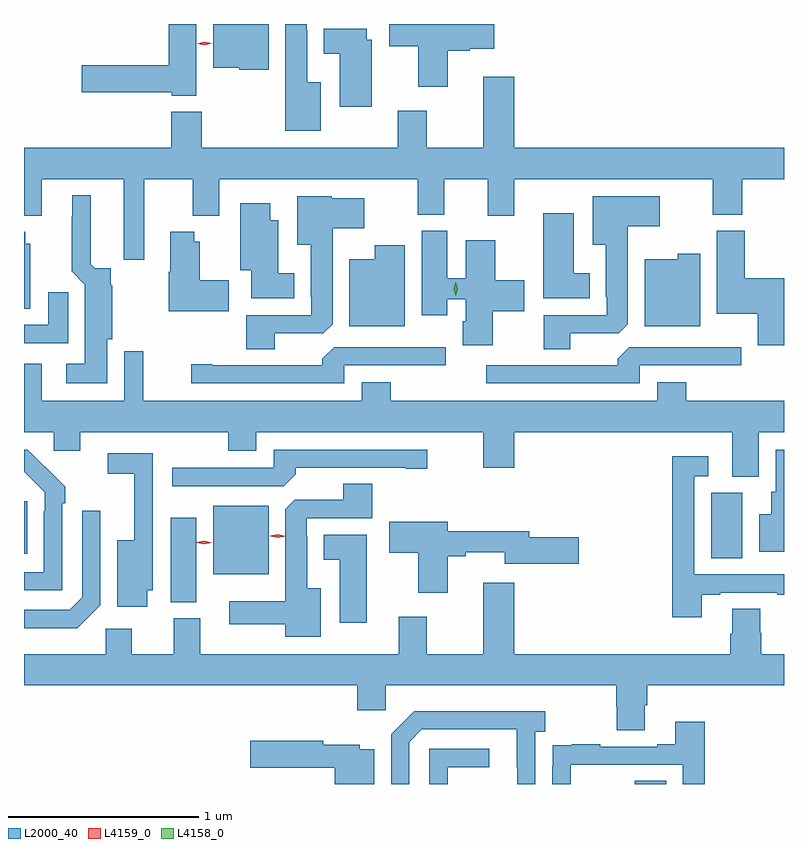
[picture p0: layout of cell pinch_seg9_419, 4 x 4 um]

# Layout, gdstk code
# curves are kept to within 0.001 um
import gdstk
lib = gdstk.Library(unit=1e-6, precision=1e-09)
def R(c, l, rs):  # rectangles x0, y0, x1, y1
    for r in rs: c.add(gdstk.rectangle(r[:2], r[2:], *l))
def P(c, l, *ps):  # polygons
    for p in ps: c.add(gdstk.Polygon(p, *l))
L2000_40 = (2000, 40)
L4158_0 = (4158, 0)
L4159_0 = (4159, 0)

pinch_seg9_419 = lib.new_cell('pinch_seg9_419')
R(pinch_seg9_419, L2000_40, [(141.83,1243.852,141.994,1243.868), (139.388,1244.809,139.522,1245.253), (139.61,1244.957,139.903,1245.316), (142.232,1245.04,142.396,1245.384), (138.615,1245.065,138.631,1245.34)])
P(pinch_seg9_419, L2000_40, [(140.176,1247.545),(140.107,1247.545),(140.107,1247.819),(140.103,1247.819),(140.103,1247.852),(139.991,1247.852),(139.991,1247.291),(140.176,1247.291)],
  [(139.903,1247.852),(139.61,1247.852),(139.61,1247.621),(139.749,1247.621),(139.749,1247.612),(139.903,1247.612)],
  [(139.522,1247.852),(139.376,1247.852),(139.376,1247.636),(138.918,1247.636),(138.918,1247.494),(139.392,1247.494),(139.392,1247.474),(139.522,1247.474)],
  [(140.845,1247.711),(140.96,1247.711),(140.96,1247.723),(141.091,1247.723),(141.091,1247.852),(140.538,1247.852),(140.538,1247.734),(140.69,1247.734),(140.69,1247.523),(140.845,1247.523)],
  [(140.446,1247.769),(140.419,1247.769),(140.419,1247.827),(140.192,1247.827),(140.192,1247.696),(140.276,1247.696),(140.276,1247.417),(140.446,1247.417)],
  [(139.249,1247.036),(139.502,1247.036),(139.502,1246.844),(139.642,1246.844),(139.642,1247.036),(140.687,1247.036),(140.687,1246.849),(140.827,1246.849),(140.827,1247.036),(141.056,1247.036),(141.056,1246.842),(141.196,1246.842),(141.196,1247.036),(142.241,1247.036),(142.241,1246.849),(142.394,1246.849),(142.394,1247.036),(142.615,1247.036),(142.615,1247.2),(141.196,1247.2),(141.196,1247.575),(141.032,1247.575),(141.032,1247.2),(140.736,1247.2),(140.736,1247.395),(140.581,1247.395),(140.581,1247.2),(139.551,1247.2),(139.551,1247.389),(139.391,1247.389),(139.391,1247.2),(138.615,1247.2),(138.615,1246.844),(138.709,1246.844),(138.709,1247.036),(139.139,1247.036),(139.139,1246.723),(139.14,1246.723),(139.14,1246.611),(139.249,1246.611)],
  [(139.054,1246.194),(139.08,1246.194),(139.08,1246.474),(139.072,1246.481),(139.072,1246.566),(138.988,1246.566),(138.967,1246.588),(138.967,1246.951),(138.869,1246.951),(138.869,1246.841),(138.865,1246.841),(138.865,1246.55),(138.935,1246.48),(138.935,1246.063),(138.837,1246.063),(138.837,1245.962),(139.054,1245.962)],
  [(141.49,1246.224),(141.744,1246.224),(141.793,1246.273),(141.793,1246.787),(141.961,1246.787),(141.961,1246.945),(141.608,1246.945),(141.608,1246.691),(141.677,1246.691),(141.677,1246.417),(141.681,1246.417),(141.681,1246.32),(141.35,1246.32),(141.35,1246.141),(141.49,1246.141)],
  [(139.936,1246.224),(140.19,1246.224),(140.239,1246.273),(140.239,1246.778),(140.407,1246.778),(140.407,1246.936),(140.235,1246.936),(140.235,1246.945),(140.054,1246.945),(140.054,1246.691),(140.123,1246.691),(140.123,1246.417),(140.127,1246.417),(140.127,1246.32),(139.784,1246.32),(139.784,1246.141),(139.936,1246.141)],
  [(140.038,1246.54),(139.954,1246.54),(139.954,1246.819),(139.912,1246.819),(139.912,1246.909),(139.754,1246.909),(139.754,1246.556),(139.811,1246.556),(139.811,1246.409),(140.038,1246.409)],
  [(141.592,1246.54),(141.508,1246.54),(141.508,1246.855),(141.347,1246.855),(141.347,1246.409),(141.592,1246.409)],
  [(142.615,1246.513),(142.409,1246.513),(142.409,1246.764),(142.262,1246.764),(142.262,1246.328),(142.478,1246.328),(142.478,1246.161),(142.615,1246.161)],
  [(141.082,1246.34),(141.247,1246.34),(141.247,1246.503),(141.094,1246.503),(141.094,1246.714),(140.939,1246.714),(140.939,1246.513),(140.842,1246.513),(140.842,1246.764),(140.708,1246.764),(140.708,1246.32),(140.842,1246.32),(140.842,1246.404),(140.939,1246.404),(140.939,1246.287),(140.924,1246.287),(140.924,1246.161),(141.082,1246.161)],
  [(138.649,1246.695),(138.622,1246.695),(138.622,1246.759),(138.615,1246.759),(138.615,1246.354),(138.649,1246.354)],
  [(139.693,1246.503),(139.54,1246.503),(139.54,1246.705),(139.51,1246.705),(139.51,1246.759),(139.385,1246.759),(139.385,1246.547),(139.378,1246.547),(139.378,1246.34),(139.693,1246.34)],
  [(140.62,1246.687),(140.462,1246.687),(140.462,1246.615),(140.327,1246.615),(140.327,1246.262),(140.62,1246.262)],
  [(142.174,1246.642),(142.056,1246.642),(142.056,1246.615),(141.881,1246.615),(141.881,1246.262),(142.174,1246.262)],
  [(138.847,1246.441),(138.743,1246.441),(138.743,1246.269),(138.615,1246.269),(138.615,1246.173),(138.847,1246.173)],
  [(140.301,1246.056),(140.836,1246.056),(140.836,1246.152),(140.247,1246.152),(140.186,1246.09),(140.186,1246.056),(139.606,1246.056),(139.606,1246.061),(139.494,1246.061),(139.494,1245.96),(140.301,1245.96)],
  [(141.855,1246.056),(142.39,1246.056),(142.39,1246.152),(141.801,1246.152),(141.74,1246.09),(141.74,1246.056),(141.048,1246.056),(141.048,1245.96),(141.855,1245.96)],
  [(142.483,1245.704),(142.615,1245.704),(142.615,1245.868),(142.1,1245.868),(142.1,1245.967),(141.947,1245.967),(141.947,1245.868),(140.546,1245.868),(140.546,1245.967),(140.393,1245.967),(140.393,1245.868),(139.242,1245.868),(139.242,1246.129),(139.143,1246.129),(139.143,1245.868),(138.709,1245.868),(138.709,1246.063),(138.615,1246.063),(138.615,1245.704),(138.771,1245.704),(138.771,1245.606),(138.91,1245.606),(138.91,1245.704),(139.69,1245.704),(139.69,1245.605),(139.837,1245.605),(139.837,1245.704),(141.032,1245.704),(141.032,1245.516),(141.196,1245.516),(141.196,1245.704),(142.343,1245.704),(142.343,1245.469),(142.483,1245.469)],
  [(138.816,1245.329),(138.831,1245.329),(138.831,1245.417),(138.634,1245.612),(138.615,1245.612),(138.615,1245.496),(138.723,1245.387),(138.723,1245.287),(138.72,1245.287),(138.72,1244.967),(138.615,1244.967),(138.615,1244.871),(138.816,1244.871)],
  [(140.045,1245.482),(140.045,1245.516),(140.624,1245.516),(140.624,1245.511),(140.737,1245.511),(140.737,1245.612),(139.929,1245.612),(139.929,1245.516),(139.395,1245.516),(139.395,1245.42),(139.983,1245.42)],
  [(142.615,1245.612),(142.572,1245.612),(142.572,1245.39),(142.547,1245.39),(142.547,1245.271),(142.484,1245.271),(142.484,1245.075),(142.615,1245.075)],
  [(139.264,1244.873),(139.293,1244.873),(139.293,1245.594),(139.056,1245.594),(139.056,1245.486),(139.196,1245.486),(139.196,1245.136),(139.106,1245.136),(139.106,1244.784),(139.264,1244.784)],
  [(142.183,1244.847),(142.279,1244.847),(142.279,1244.859),(142.579,1244.859),(142.579,1244.847),(142.615,1244.847),(142.615,1244.955),(142.143,1244.955),(142.143,1245.471),(142.216,1245.471),(142.216,1245.577),(142.027,1245.577),(142.027,1244.73),(142.183,1244.73)],
  [(140.176,1244.881),(140.107,1244.881),(140.107,1245.155),(140.103,1245.155),(140.103,1245.252),(140.447,1245.252),(140.447,1245.431),(140.294,1245.431),(140.294,1245.348),(140.04,1245.348),(139.991,1245.299),(139.991,1244.815),(139.695,1244.815),(139.695,1244.693),(139.991,1244.693),(139.991,1244.627),(140.176,1244.627)],
  [(139.017,1244.793),(139.017,1245.289),(138.921,1245.289),(138.921,1244.835),(138.855,1244.769),(138.615,1244.769),(138.615,1244.672),(138.896,1244.672)],
  [(140.845,1245.052),(140.941,1245.052),(140.941,1245.071),(141.146,1245.071),(141.146,1245.01),(141.535,1245.01),(141.535,1245.152),(141.274,1245.152),(141.274,1245.181),(140.845,1245.181),(140.845,1245.232),(140.538,1245.232),(140.538,1245.07),(140.69,1245.07),(140.69,1244.859),(140.845,1244.859)],
  [(140.419,1245.163),(140.192,1245.163),(140.192,1245.032),(140.276,1245.032),(140.276,1244.7),(140.419,1244.7)],
  [(141.883,1244.266),(141.896,1244.266),(141.896,1244.372),(142.615,1244.372),(142.615,1244.536),(142.496,1244.536),(142.496,1244.649),(142.491,1244.649),(142.491,1244.774),(142.343,1244.774),(142.343,1244.642),(142.331,1244.642),(142.331,1244.536),(141.196,1244.536),(141.196,1244.911),(141.032,1244.911),(141.032,1244.536),(140.736,1244.536),(140.736,1244.731),(140.588,1244.731),(140.588,1244.536),(139.543,1244.536),(139.543,1244.724),(139.403,1244.724),(139.403,1244.536),(139.183,1244.536),(139.183,1244.668),(139.044,1244.668),(139.044,1244.536),(138.615,1244.536),(138.615,1244.372),(140.369,1244.372),(140.369,1244.241),(140.52,1244.241),(140.52,1244.372),(141.731,1244.372),(141.731,1244.259),(141.736,1244.259),(141.736,1244.134),(141.883,1244.134)],
  [(140.643,1244.073),(140.709,1244.139),(141.209,1244.139),(141.21,1243.852),(141.306,1243.852),(141.306,1244.126),(141.358,1244.126),(141.358,1244.236),(140.668,1244.236),(140.547,1244.115),(140.547,1243.852),(140.643,1243.852)],
  [(141.492,1243.953),(142.083,1243.953),(142.083,1243.852),(142.199,1243.852),(142.199,1244.179),(142.043,1244.179),(142.043,1244.062),(141.947,1244.062),(141.947,1244.049),(141.647,1244.049),(141.647,1244.062),(141.499,1244.062),(141.499,1244.055),(141.397,1244.055),(141.397,1243.946),(141.396,1243.946),(141.396,1243.852),(141.492,1243.852)],
  [(140.458,1244.035),(140.382,1244.035),(140.382,1244.059),(140.19,1244.059),(140.19,1244.079),(139.806,1244.079),(139.806,1243.937),(140.251,1243.937),(140.251,1243.852),(140.458,1243.852)],
  [(140.844,1243.941),(141.064,1243.941),(141.064,1244.037),(140.748,1244.037),(140.748,1243.852),(140.844,1243.852)])
P(pinch_seg9_419, L4158_0, [(140.887,1246.423),(140.887,1246.423),(140.877,1246.459),(140.887,1246.494),(140.887,1246.494),(140.888,1246.494),(140.897,1246.459),(140.888,1246.423)])
P(pinch_seg9_419, L4159_0, [(139.951,1245.147),(139.91,1245.157),(139.91,1245.158),(139.91,1245.158),(139.951,1245.167),(139.992,1245.157),(139.992,1245.157),(139.992,1245.156)],
  [(139.564,1245.113),(139.524,1245.123),(139.524,1245.124),(139.524,1245.124),(139.564,1245.133),(139.604,1245.123),(139.604,1245.123),(139.604,1245.122)],
  [(139.565,1247.739),(139.526,1247.748),(139.526,1247.748),(139.526,1247.748),(139.564,1247.759),(139.603,1247.75),(139.603,1247.75),(139.603,1247.75)])

lib.write_gds('pinch_seg9_419.gds')
